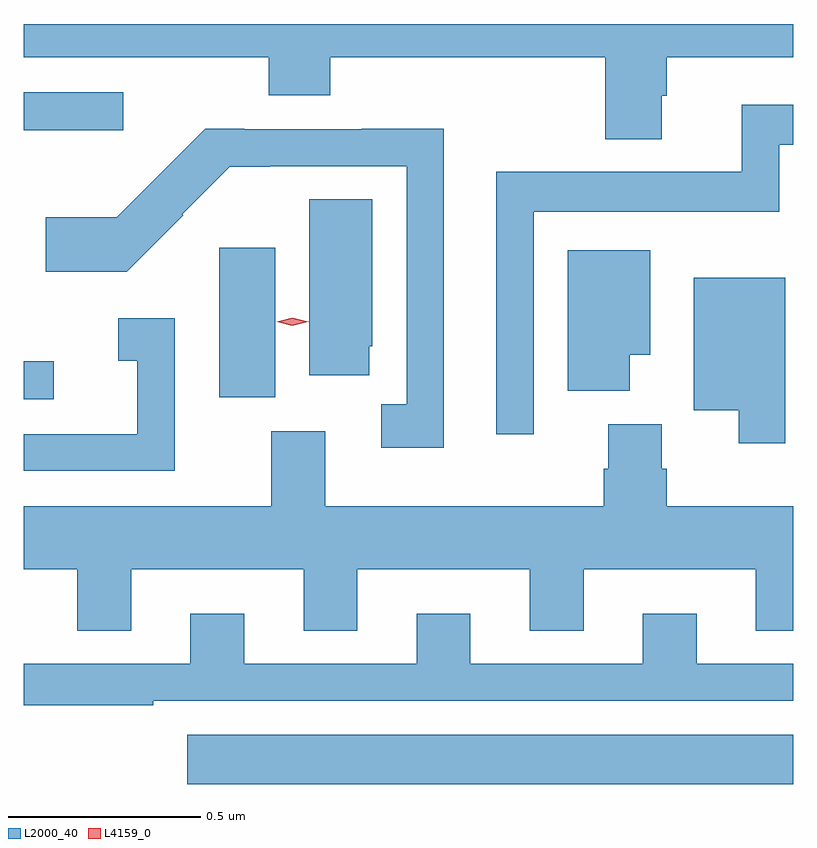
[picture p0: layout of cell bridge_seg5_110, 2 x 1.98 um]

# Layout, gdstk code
import gdstk
lib = gdstk.Library(unit=1e-6, precision=1e-09)
def R(c, l, rs):  # rectangles x0, y0, x1, y1
    for r in rs: c.add(gdstk.rectangle(r[:2], r[2:], *l))
def P(c, l, *ps):  # polygons
    for p in ps: c.add(gdstk.Polygon(p, *l))
L2000_40 = (2000, 40)
L4159_0 = (4159, 0)

bridge_seg5_110 = lib.new_cell('bridge_seg5_110')
R(bridge_seg5_110, L2000_40, [(449.421,869.522,450.996,869.65), (448.996,870.522,449.074,870.621), (449.504,870.527,449.65,870.916), (448.996,871.222,449.254,871.32)])
P(bridge_seg5_110, L2000_40, [(450.655,871.311),(450.668,871.311),(450.668,871.412),(450.996,871.412),(450.996,871.498),(448.996,871.498),(448.996,871.412),(449.632,871.412),(449.632,871.313),(449.792,871.313),(449.792,871.412),(450.508,871.412),(450.508,871.199),(450.655,871.199)],
  [(450.321,871.01),(450.96,871.01),(450.96,871.184),(450.996,871.184),(450.996,871.288),(450.863,871.288),(450.863,871.114),(450.224,871.114),(450.224,870.432),(450.321,870.432)],
  [(450.088,871.226),(449.875,871.226),(449.875,871.224),(449.569,871.224),(449.569,871.226),(449.468,871.226),(449.238,870.996),(449.053,870.996),(449.053,870.854),(449.264,870.854),(449.41,871.001),(449.408,871.004),(449.531,871.127),(449.635,871.127),(449.635,871.128),(449.991,871.128),(449.991,870.51),(449.925,870.51),(449.925,870.396),(450.088,870.396)],
  [(449.894,870.66),(449.902,870.66),(449.902,871.043),(449.738,871.043),(449.738,870.585),(449.894,870.585)],
  [(450.571,870.638),(450.625,870.638),(450.625,870.91),(450.41,870.91),(450.41,870.545),(450.571,870.545)],
  [(450.976,870.838),(450.737,870.838),(450.737,870.494),(450.854,870.494),(450.854,870.408),(450.976,870.408)],
  [(449.388,870.733),(449.241,870.733),(449.241,870.623),(449.291,870.623),(449.291,870.432),(448.996,870.432),(448.996,870.336),(449.388,870.336)],
  [(449.275,870.08),(449.723,870.08),(449.723,869.92),(449.863,869.92),(449.863,870.08),(450.311,870.08),(450.311,869.92),(450.451,869.92),(450.451,870.08),(450.899,870.08),(450.899,869.92),(450.996,869.92),(450.996,870.244),(450.668,870.244),(450.668,870.342),(450.655,870.342),(450.655,870.457),(450.515,870.457),(450.515,870.342),(450.503,870.342),(450.503,870.244),(449.779,870.244),(449.779,870.439),(449.639,870.439),(449.639,870.244),(448.996,870.244),(448.996,870.08),(449.135,870.08),(449.135,869.92),(449.275,869.92)],
  [(449.333,869.739),(450.996,869.739),(450.996,869.835),(450.745,869.835),(450.745,869.965),(450.605,869.965),(450.605,869.835),(450.157,869.835),(450.157,869.965),(450.017,869.965),(450.017,869.835),(449.569,869.835),(449.569,869.965),(449.429,869.965),(449.429,869.835),(448.996,869.835),(448.996,869.727),(449.333,869.727)])
P(bridge_seg5_110, L4159_0, [(449.694,870.714),(449.653,870.724),(449.653,870.724),(449.653,870.724),(449.694,870.734),(449.735,870.724),(449.736,870.724),(449.735,870.724)])

lib.write_gds('bridge_seg5_110.gds')
